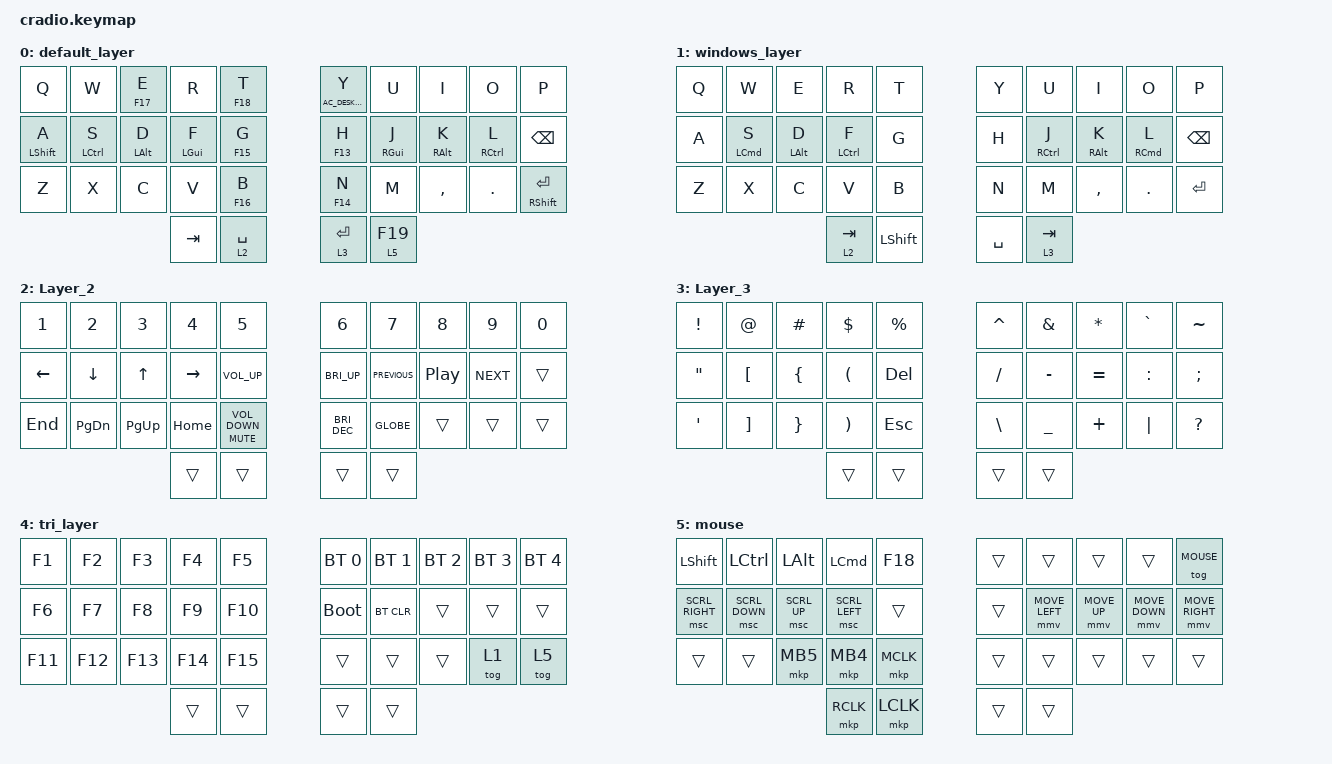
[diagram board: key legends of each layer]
// Copyright (c) 2022 The ZMK Contributors
// SPDX-License-Identifier: MIT

#define ZMK_POINTING_DEFAULT_MOVE_VAL 2500  // 600
#define ZMK_POINTING_DEFAULT_SCRL_VAL 20    // 10

#include <behaviors.dtsi>
#include "behaviors/character_map.dtsi"
#include "behaviors/send_string.dtsi"
#include "behaviors/report.dtsi"
#include <dt-bindings/zmk/bt.h>
#include <dt-bindings/zmk/keys.h>
#include <dt-bindings/zmk/outputs.h>
#include <dt-bindings/zmk/pointing.h>

#define MAC 0
#define WIN 1
#define RIG 2
#define LEF 3
#define TRI 4
#define MOUSE 5


// https://zmk.dev/docs/development/hardware-integration/soft-off-setup?advanced-methods=wakeup&kscan-type=dkscan
/ {
    keys {
        compatible = "gpio-keys";
        soft_off_gpio_key: soft_off_gpio_key {
            gpios = <&gpio1 6 (GPIO_ACTIVE_LOW | GPIO_PULL_UP)>;
        };
    };
    wakeup_scan: wakeup_scan {
        compatible = "zmk,kscan-gpio-direct";
        input-keys = <&soft_off_gpio_key>;
        wakeup-source;
    };
    side_band_behavior_triggers: side_band_behavior_triggers {
        compatible = "zmk,kscan-sideband-behaviors";
        kscan = <&wakeup_scan>;
        auto-enable;
        wakeup-source;
    };
    soft_off_wakers {
        compatible = "zmk,soft-off-wakeup-sources";
        wakeup-sources = <&wakeup_scan>;
    };
};

/ {
    vbatt: vbatt {
        compatible = "zmk,battery-nrf-vddh";
    };
    chosen {
        zmk,charmap = &charmap_us;
        zmk,battery = &vbatt;
    };
    behaviors {
        ht: hold_tap {
            display-name = "hold_tap";
            compatible = "zmk,behavior-hold-tap";
            #binding-cells = <2>;
            flavor = "balanced";
            tapping-term-ms = <200>;
            quick-tap-ms = <150>;
            bindings = <&kp>, <&kp>;
        };
        mmv {
            acceleration-exponent = <1>;      // 1
            time-to-max-speed-ms = <300>;    // 40
            delay-ms = <0>;                   // 0
        };
        msc {
            acceleration-exponent = <0>;      // 0
            time-to-max-speed-ms = <40>;      // 500
            delay-ms = <0>;                   // 10
        };
    };

    conditional_layers {
        compatible = "zmk,conditional-layers";

        tri_layer {
            if-layers = <RIG LEF>;
            then-layer = <TRI>;
        };
    };

    keymap {
        compatible = "zmk,keymap";

        default_layer {
            bindings = <
&kp Q             &kp W               &ht F17 E       &kp R       &ht F18 T      &ht C_AC_DESKTOP_SHOW_ALL_WINDOWS Y  &kp U       &kp I            &kp O                &kp P
&ht LEFT_SHIFT A  &ht LEFT_CONTROL S  &ht LEFT_ALT D  &ht LGUI F  &ht F15 G      &ht F13 H                            &ht RGUI J  &ht RIGHT_ALT K  &ht RIGHT_CONTROL L  &kp BSPC
&kp Z             &kp X               &kp C           &kp V       &ht F16 B      &ht F14 N                            &kp M       &kp COMMA        &kp DOT              &ht RSHIFT ENTER
                                                      &kp TAB     &lt 2 SPACE    &lt 3 ENTER                          &lt 5 F19
            >;
        };

        windows_layer {
            bindings = <
&kp Q  &kp W               &kp E           &kp R        &kp T         &kp Y      &kp U        &kp I            &kp O                &kp P
&kp A  &ht LEFT_COMMAND S  &ht LEFT_ALT D  &ht LCTRL F  &kp G         &kp H      &ht RCTRL J  &ht RIGHT_ALT K  &ht RIGHT_COMMAND L  &kp BSPC
&kp Z  &kp X               &kp C           &kp V        &kp B         &kp N      &kp M        &kp COMMA        &kp DOT              &kp ENTER
                                           &lt 2 TAB    &kp LSHIFT    &kp SPACE  &lt 3 TAB
            >;
        };

        Layer_2 {
            bindings = <
&kp N1          &kp N2          &kp N3        &kp N4           &kp N5                      &kp N6         &kp N7          &kp N8    &kp N9      &kp N0
&kp LEFT_ARROW  &kp DOWN_ARROW  &kp UP_ARROW  &kp RIGHT_ARROW  &kp C_VOLUME_UP             &kp C_BRI_UP   &kp C_PREVIOUS  &kp C_PP  &kp C_NEXT  &trans
&kp END         &kp PAGE_DOWN   &kp PAGE_UP   &kp HOME         &ht C_MUTE C_VOLUME_DOWN    &kp C_BRI_DEC  &kp GLOBE       &trans    &trans      &trans
                                              &trans           &trans                      &trans         &trans
            >;
        };

        Layer_3 {
            bindings = <
&kp EXCL  &kp AT    &kp HASH  &kp DLLR  &kp PRCNT     &kp CARET  &kp AMPS   &kp ASTRK  &kp GRAVE  &kp TILDE
&kp DQT   &kp LBKT  &kp LBRC  &kp LPAR  &kp DELETE    &kp FSLH   &kp MINUS  &kp EQUAL  &kp COLON  &kp SEMI 
&kp SQT   &kp RBKT  &kp RBRC  &kp RPAR  &kp ESC       &kp BSLH   &kp UNDER  &kp PLUS   &kp PIPE   &kp QMARK
                              &trans    &trans        &trans     &trans
            >;
        };

        tri_layer {
            bindings = <
&kp F1   &kp F2   &kp F3   &kp F4   &kp F5     &bt BT_SEL 0  &bt BT_SEL 1  &bt BT_SEL 2  &bt BT_SEL 3  &bt BT_SEL 4
&kp F6   &kp F7   &kp F8   &kp F9   &kp F10    &bootloader   &bt BT_CLR    &trans        &trans        &trans
&kp F11  &kp F12  &kp F13  &kp F14  &kp F15    &trans        &trans        &trans        &tog 1        &tog 5
                           &trans   &trans     &trans        &trans
            >;
        };

        mouse {
            bindings = <
&kp LEFT_SHIFT   &kp LEFT_CONTROL  &kp LEFT_ALT  &kp LEFT_COMMAND  &kp F18      &trans  &trans          &trans        &trans          &tog MOUSE
&msc SCRL_RIGHT  &msc SCRL_DOWN    &msc SCRL_UP  &msc SCRL_LEFT    &trans       &trans  &mmv MOVE_LEFT  &mmv MOVE_UP  &mmv MOVE_DOWN  &mmv MOVE_RIGHT
&trans           &trans            &mkp MB5      &mkp MB4          &mkp MCLK    &trans  &trans          &trans        &trans          &trans
                                                 &mkp RCLK         &mkp LCLK    &trans  &trans
            >;
        };
    };
};
